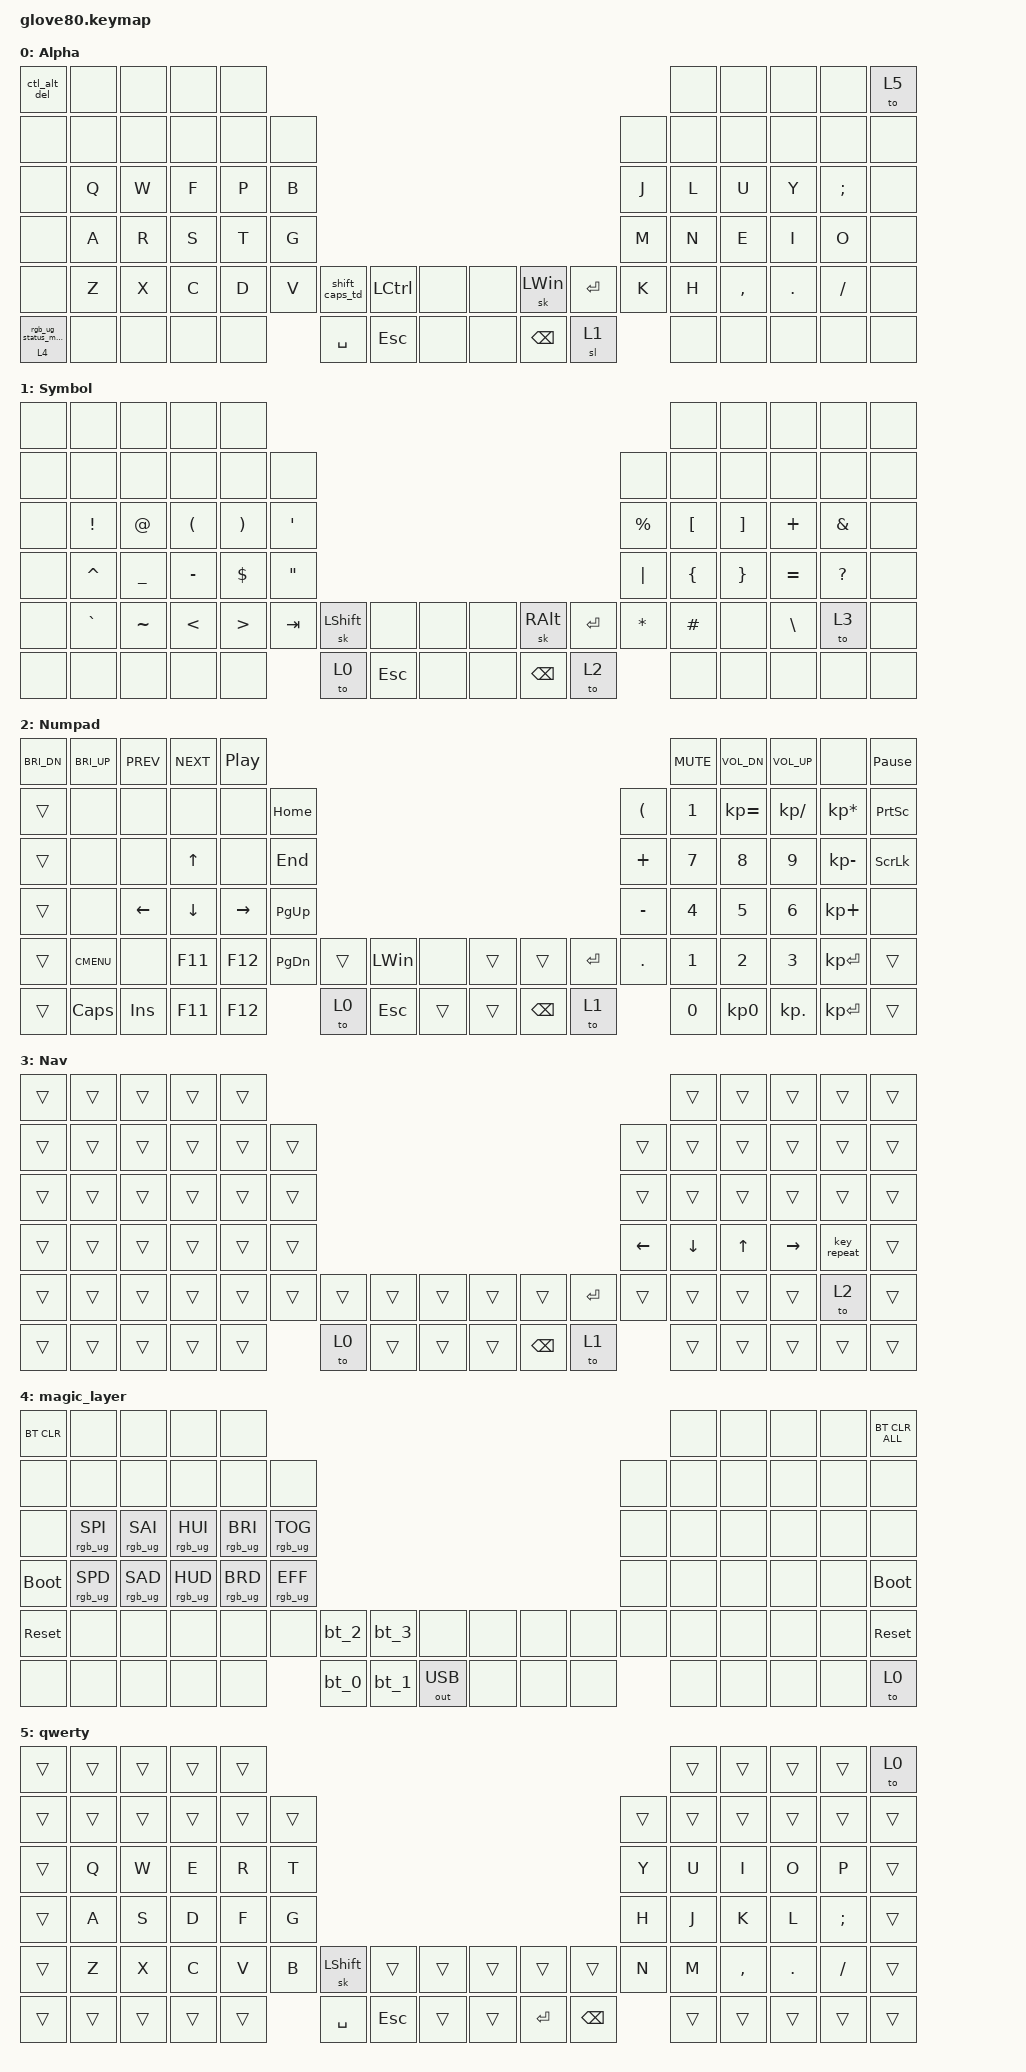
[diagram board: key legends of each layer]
/*
 * Copyright (c) 2020 The ZMK Contributors
 *
 * SPDX-License-Identifier: MIT
 */

#include <behaviors.dtsi>
#include <dt-bindings/zmk/bt.h>
#include <dt-bindings/zmk/keys.h>
#include <dt-bindings/zmk/outputs.h>
#include <dt-bindings/zmk/rgb.h>

#define HYPER LC(LS(LG(LALT)))

// layers

#define DEFAULT 0
#define LOWER 1
#define MAGIC 2
#define FACTORY_TEST 3

/ {
    behaviors {
        // For the "layer" key, it'd nice to be able to use it as either a shift or a toggle.
        // Configure it as a tap dance, so the first tap (or hold) is a &mo and the second tap is a &to

        layer_td: tap_dance_0 {
            compatible = "zmk,behavior-tap-dance";
            label = "LAYER_TAP_DANCE";
            #binding-cells = <0>;
            tapping-term-ms = <200>;
            bindings = <&mo 3>, <&to 3>;
        };

        magic: magic_hold_tap {
            compatible = "zmk,behavior-hold-tap";
            label = "MAGIC_HOLD_TAP";
            #binding-cells = <2>;
            flavor = "tap-preferred";
            tapping-term-ms = <200>;
            bindings = <&mo>, <&rgb_ug_status_macro>;
        };

        shift_caps_td: shift_caps_td {
            compatible = "zmk,behavior-tap-dance";
            label = "SHIFT_CAPS_TD";
            #binding-cells = <0>;
            tapping-term-ms = <100>;
            bindings = <&sk LEFT_SHIFT>, <&kp CAPS>;
        };
    };

    macros {
        rgb_ug_status_macro: rgb_ug_status_macro_0 {
            label = "RGB_UG_STATUS";
            compatible = "zmk,behavior-macro";
            #binding-cells = <0>;
            bindings = <&rgb_ug RGB_STATUS>;
        };

        bt_0: bt_profile_macro_0 {
            label = "BT_0";
            compatible = "zmk,behavior-macro";
            #binding-cells = <0>;
            bindings = <&out OUT_BLE &bt BT_SEL 0>;
        };

        bt_1: bt_profile_macro_1 {
            label = "BT_1";
            compatible = "zmk,behavior-macro";
            #binding-cells = <0>;
            bindings = <&out OUT_BLE &bt BT_SEL 1>;
        };

        bt_2: bt_profile_macro_2 {
            label = "BT_2";
            compatible = "zmk,behavior-macro";
            #binding-cells = <0>;
            bindings = <&out OUT_BLE &bt BT_SEL 2>;
        };

        bt_3: bt_profile_macro_3 {
            label = "BT_3";
            compatible = "zmk,behavior-macro";
            #binding-cells = <0>;
            bindings = <&out OUT_BLE &bt BT_SEL 3>;
        };

        ctl_alt_del: ctl_alt_del {
            compatible = "zmk,behavior-macro";
            #binding-cells = <0>;
            bindings =
                <&macro_press>,
                <&kp LCTRL &kp LEFT_ALT &kp DEL>,
                <&macro_release>,
                <&kp LCTRL &kp LEFT_ALT &kp DEL>;

            label = "CTL_ALT_DEL";
        };
    };

    keymap {
        compatible = "zmk,keymap";

        Alpha {
            // ---------------------------------------------------------------------------------------------------------------------------------
            // |  F1   |  F2 |  F3 |  F4  |  F5  |                                                               |  F6   |  F7   |  F8  |   F9  |  F10 |
            // |  =    |  1  |  2  |  3   |  4   |  5   |                                                 |  6   |   7   |   8   |  9   |   0   |   -  |
            // |  TAB  |  Q  |  W  |  E   |  R   |  T   |                                                 |  Y   |   U   |   I   |  O   |   P   |   \  |
            // |  ESC  |  A  |  S  |  D   |  F   |  G   |                                                 |  H   |   J   |   K   |  L   |   ;   |   '  |
            // |   `   |  Z  |  X  |  C   |  V   |  B   | LSHFT | LCTRL | LOWER | | LGUI  | RCTRL | RSHFT |  N   |   M   |   ,   |  .   |   /   | PGUP |
            // | MAGIC | HOME| END | LEFT | RIGHT|      | BSPC  | DEL   | LALT  | | RALT  | RET   | SPACE |      |  UP   | DOWN  |  [   |   ]   | PGDN |

            bindings = <
&ctl_alt_del  &none  &none  &none  &none                                                                                          &none  &none      &none    &none     &to 5
&none         &none  &none  &none  &none  &none                                                                            &none  &none  &none      &none    &none     &none
&none         &kp Q  &kp W  &kp F  &kp P  &kp B                                                                            &kp J  &kp L  &kp U      &kp Y    &kp SEMI  &none
&none         &kp A  &kp R  &kp S  &kp T  &kp G                                                                            &kp M  &kp N  &kp E      &kp I    &kp O     &none
&none         &kp Z  &kp X  &kp C  &kp D  &kp V  &shift_caps_td  &kp LEFT_CONTROL  &none  &none  &sk LEFT_WIN   &kp ENTER  &kp K  &kp H  &kp COMMA  &kp DOT  &kp FSLH  &none
&magic 4 0    &none  &none  &none  &none         &kp SPACE       &kp ESCAPE        &none  &none  &kp BACKSPACE  &sl 1             &none  &none      &none    &none     &none
            >;
        };

        Symbol {
            bindings = <
&none  &none            &none           &none                 &none                                                                                                                   &none             &none              &none          &none          &none
&none  &none            &none           &none                 &none                  &none                                                                              &none         &none             &none              &none          &none          &none
&none  &kp EXCLAMATION  &kp AT_SIGN     &kp LEFT_PARENTHESIS  &kp RIGHT_PARENTHESIS  &kp SINGLE_QUOTE                                                                   &kp PERCENT   &kp LEFT_BRACKET  &kp RIGHT_BRACKET  &kp PLUS       &kp AMPERSAND  &none
&none  &kp CARET        &kp UNDERSCORE  &kp MINUS             &kp DOLLAR             &kp DOUBLE_QUOTES                                                                  &kp PIPE      &kp LEFT_BRACE    &kp RIGHT_BRACE    &kp EQUAL      &kp QUESTION   &none
&none  &kp GRAVE        &kp TILDE       &kp LESS_THAN         &kp GREATER_THAN       &kp TAB            &sk LSHIFT  &none       &none  &none  &sk RIGHT_ALT  &kp ENTER  &kp ASTERISK  &kp HASH          &none              &kp BACKSLASH  &to 3          &none
&none  &none            &none           &none                 &none                                     &to 0       &kp ESCAPE  &none  &none  &kp BACKSPACE  &to 2                    &none             &none              &none          &none          &none
            >;
        };

        Numpad {
            bindings = <
&kp C_BRI_DN  &kp C_BRI_UP  &kp C_PREV  &kp C_NEXT  &kp C_PP                                                                                         &kp C_MUTE  &kp C_VOL_DN  &kp C_VOL_UP   &none            &kp PAUSE_BREAK
&trans        &none         &none       &none       &none      &kp HOME                                                                   &kp LPAR   &kp N1      &kp KP_EQUAL  &kp KP_DIVIDE  &kp KP_MULTIPLY  &kp PSCRN
&trans        &none         &none       &kp UP      &none      &kp END                                                                    &kp PLUS   &kp N7      &kp N8        &kp N9         &kp KP_MINUS     &kp SLCK
&trans        &none         &kp LEFT    &kp DOWN    &kp RIGHT  &kp PG_UP                                                                  &kp MINUS  &kp N4      &kp N5        &kp N6         &kp KP_PLUS      &none
&trans        &kp K_CMENU   &none       &kp F11     &kp F12    &kp PG_DN  &trans  &kp LEFT_WIN  &none   &trans  &trans         &kp ENTER  &kp DOT    &kp N1      &kp N2        &kp N3         &kp KP_ENTER     &trans
&trans        &kp CAPS      &kp INS     &kp F11     &kp F12               &to 0   &kp ESCAPE    &trans  &trans  &kp BACKSPACE  &to 1                 &kp N0      &kp KP_N0     &kp KP_DOT     &kp KP_ENTER     &trans
            >;
        };

        Nav {
            bindings = <
&trans  &trans  &trans  &trans  &trans                                                                              &trans    &trans        &trans     &trans       &trans
&trans  &trans  &trans  &trans  &trans  &trans                                                            &trans    &trans    &trans        &trans     &trans       &trans
&trans  &trans  &trans  &trans  &trans  &trans                                                            &trans    &trans    &trans        &trans     &trans       &trans
&trans  &trans  &trans  &trans  &trans  &trans                                                            &kp LEFT  &kp DOWN  &kp UP_ARROW  &kp RIGHT  &key_repeat  &trans
&trans  &trans  &trans  &trans  &trans  &trans  &trans  &trans  &trans  &trans  &trans         &kp ENTER  &trans    &trans    &trans        &trans     &to 2        &trans
&trans  &trans  &trans  &trans  &trans          &to 0   &trans  &trans  &trans  &kp BACKSPACE  &to 1                &trans    &trans        &trans     &trans       &trans
            >;
        };

        magic_layer {
            bindings = <
&bt BT_CLR   &none            &none            &none            &none                                                                                     &none  &none  &none  &none  &bt BT_CLR_ALL
&none        &none            &none            &none            &none            &none                                                             &none  &none  &none  &none  &none  &none
&none        &rgb_ug RGB_SPI  &rgb_ug RGB_SAI  &rgb_ug RGB_HUI  &rgb_ug RGB_BRI  &rgb_ug RGB_TOG                                                   &none  &none  &none  &none  &none  &none
&bootloader  &rgb_ug RGB_SPD  &rgb_ug RGB_SAD  &rgb_ug RGB_HUD  &rgb_ug RGB_BRD  &rgb_ug RGB_EFF                                                   &none  &none  &none  &none  &none  &bootloader
&sys_reset   &none            &none            &none            &none            &none            &bt_2  &bt_3  &none         &none  &none  &none  &none  &none  &none  &none  &none  &sys_reset
&none        &none            &none            &none            &none                             &bt_0  &bt_1  &out OUT_USB  &none  &none  &none         &none  &none  &none  &none  &to 0
            >;
        };

        qwerty {
            bindings = <
&trans  &trans  &trans  &trans  &trans                                                                                        &trans  &trans     &trans   &trans    &to 0
&trans  &trans  &trans  &trans  &trans  &trans                                                                        &trans  &trans  &trans     &trans   &trans    &trans
&trans  &kp Q   &kp W   &kp E   &kp R   &kp T                                                                         &kp Y   &kp U   &kp I      &kp O    &kp P     &trans
&trans  &kp A   &kp S   &kp D   &kp F   &kp G                                                                         &kp H   &kp J   &kp K      &kp L    &kp SEMI  &trans
&trans  &kp Z   &kp X   &kp C   &kp V   &kp B   &sk LEFT_SHIFT  &trans      &trans  &trans  &trans     &trans         &kp N   &kp M   &kp COMMA  &kp DOT  &kp FSLH  &trans
&trans  &trans  &trans  &trans  &trans          &kp SPACE       &kp ESCAPE  &trans  &trans  &kp ENTER  &kp BACKSPACE          &trans  &trans     &trans   &trans    &trans
            >;
        };
    };
};
